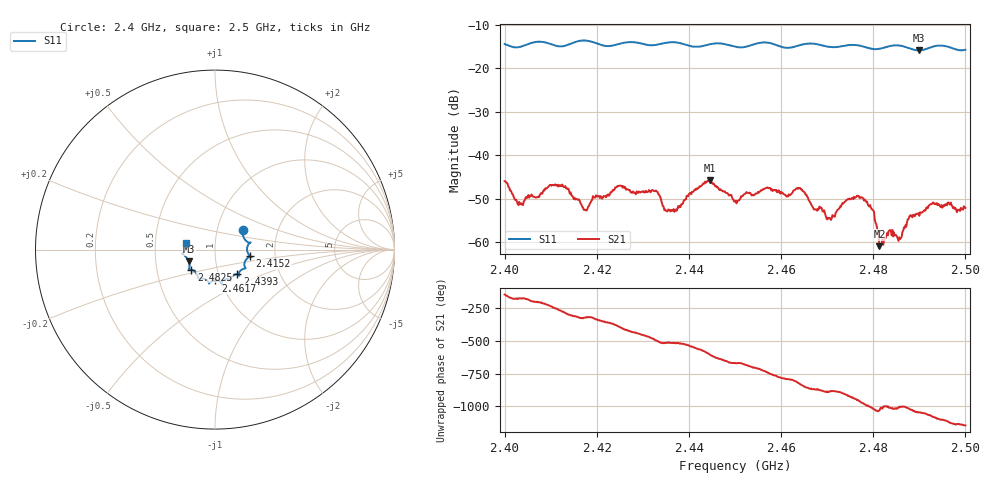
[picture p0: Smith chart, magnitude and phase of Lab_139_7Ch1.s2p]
# Hz S RI R 50
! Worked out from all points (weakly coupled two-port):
!   601 points, 2.4 GHz to 2.5 GHz, reference 50 ohm
!   highest |S21| = -45.75 dB at 2.4445 GHz (marker M1); lowest = -60.9 dB at 2.4813 GHz (marker M2)
!   lowest |S11| = -15.9 dB at 2.4898 GHz (marker M3), VSWR 1.38, Z = 36.9 - j4.91 ohm
!   |S11| at or under -10 dB: start of sweep to end of sweep
!   S12 and S22 are empty: the file has one direction only
!   S11 on the Smith chart (normalised r, x): 2.4 GHz: 1.33, +0.30; 2.4152 GHz: 1.48, -0.11; 2.4393 GHz: 1.23, -0.35; 2.4617 GHz: 0.95, -0.33; 2.4825 GHz: 0.75, -0.17; 2.5 GHz: 0.72, +0.05
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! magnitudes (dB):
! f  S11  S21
! 2.4 GHz  -14.4  -46.0
! 2.4035 GHz  -15.1  -51.1
! 2.4103 GHz  -14.6  -46.8
! 2.4152 GHz  -14.0  -49.8
! 2.4167 GHz  -13.6  -51.3
! 2.425 GHz  -14.4  -47.0
! 2.4333 GHz  -14.5  -48.9
! 2.4355 GHz  -14.1  -52.5
! 2.4393 GHz  -14.6  -50.1
! 2.4445 GHz  -14.5  -45.8
! 2.45 GHz  -15.0  -50.6
! 2.4617 GHz  -15.3  -49.0
! 2.4667 GHz  -14.3  -51.6
! 2.4705 GHz  -15.1  -54.4
! 2.4773 GHz  -14.9  -49.6
! 2.4797 GHz  -15.5  -52.4
! 2.4813 GHz  -15.5  -60.9
! 2.4825 GHz  -15.2  -59.1
! 2.4833 GHz  -15.0  -57.5
! 2.4857 GHz  -14.8  -58.9
! 2.4898 GHz  -15.9  -53.3
! 2.5 GHz  -15.8  -52.1
